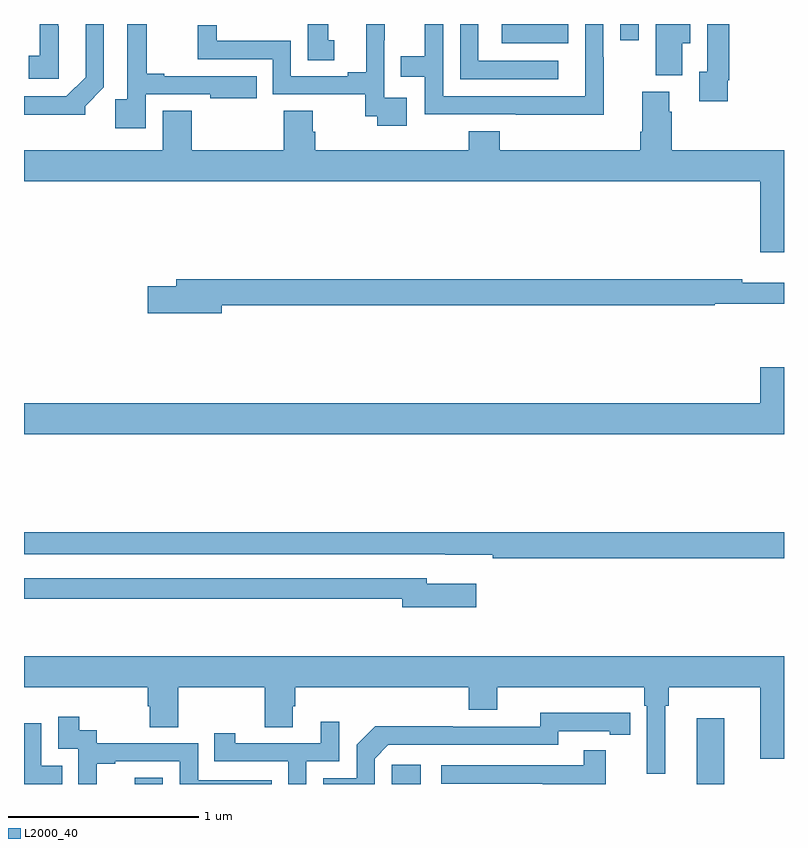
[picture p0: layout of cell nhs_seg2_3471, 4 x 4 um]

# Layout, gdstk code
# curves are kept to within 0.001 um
import gdstk
lib = gdstk.Library(unit=1e-6, precision=1e-09)
def R(c, l, rs):  # rectangles x0, y0, x1, y1
    for r in rs: c.add(gdstk.rectangle(r[:2], r[2:], *l))
def P(c, l, *ps):  # polygons
    for p in ps: c.add(gdstk.Polygon(p, *l))
L2000_40 = (2000, 40)

nhs_seg2_3471 = lib.new_cell('nhs_seg2_3471')
R(nhs_seg2_3471, L2000_40, [(293.583,641.8,293.73,641.833), (294.936,641.8,295.087,641.902), (296.54,641.8,296.686,642.145), (295.515,645.698,295.864,645.8), (296.139,645.714,296.235,645.8)])
P(nhs_seg2_3471, L2000_40, [(296.051,645.626),(296.049,645.626),(296.049,645.8),(295.953,645.8),(295.953,645.42),(295.206,645.42),(295.206,645.8),(295.109,645.8),(295.109,645.631),(294.982,645.631),(294.982,645.522),(295.11,645.522),(295.11,645.324),(295.588,645.324),(295.588,645.323),(296.051,645.323)],
  [(295.015,645.411),(294.897,645.411),(294.897,645.715),(294.899,645.715),(294.899,645.8),(294.8,645.8),(294.8,645.545),(294.704,645.545),(294.704,645.525),(294.405,645.525),(294.405,645.711),(294.015,645.711),(294.015,645.793),(293.914,645.793),(293.914,645.615),(294.309,645.615),(294.309,645.429),(294.796,645.429),(294.796,645.315),(294.859,645.315),(294.859,645.264),(295.015,645.264)],
  [(296.704,645.505),(296.711,645.505),(296.711,645.8),(296.595,645.8),(296.595,645.549),(296.555,645.549),(296.555,645.393),(296.704,645.393)],
  [(294.634,645.714),(294.601,645.714),(294.601,645.8),(294.494,645.8),(294.494,645.61),(294.634,645.61)],
  [(293.64,645.429),(293.981,645.429),(293.981,645.41),(294.224,645.41),(294.224,645.525),(293.737,645.525),(293.737,645.538),(293.645,645.538),(293.645,645.8),(293.544,645.8),(293.544,645.403),(293.479,645.403),(293.479,645.252),(293.64,645.252)],
  [(296.464,645.698),(296.506,645.698),(296.506,645.8),(296.324,645.8),(296.324,645.529),(296.464,645.529)],
  [(293.182,645.788),(293.181,645.788),(293.181,645.8),(293.083,645.8),(293.083,645.633),(293.025,645.633),(293.025,645.513),(293.182,645.513)],
  [(293.322,645.367),(293.421,645.466),(293.421,645.8),(293.324,645.8),(293.324,645.521),(293.223,645.42),(293,645.42),(293,645.323),(293.322,645.323)],
  [(295.813,645.606),(295.392,645.606),(295.392,645.8),(295.296,645.8),(295.296,645.51),(295.813,645.51)],
  [(294.52,645.234),(294.52,645.344),(294.368,645.344),(294.368,645.136),(293.882,645.136),(293.882,645.344),(293.729,645.344),(293.729,645.136),(293,645.136),(293,644.972),(296.876,644.972),(296.876,644.598),(297,644.598),(297,645.136),(296.408,645.136),(296.408,645.338),(296.395,645.338),(296.395,645.444),(296.255,645.444),(296.255,645.232),(296.243,645.232),(296.243,645.136),(295.505,645.136),(295.505,645.235),(295.34,645.235),(295.34,645.136),(294.533,645.136),(294.533,645.234)],
  [(294.04,644.32),(296.636,644.32),(296.636,644.328),(297,644.328),(297,644.437),(296.78,644.437),(296.78,644.456),(293.801,644.456),(293.801,644.42),(293.652,644.42),(293.652,644.278),(294.04,644.278)],
  [(297,643.993),(296.876,643.993),(296.876,643.804),(293,643.804),(293,643.64),(297,643.64)],
  [(297,643.124),(293,643.124),(293,643.008),(295.216,643.008),(295.216,643.007),(295.468,643.007),(295.468,642.988),(297,642.988)],
  [(295.381,642.853),(295.12,642.853),(295.12,642.882),(293,642.882),(293,642.774),(294.992,642.774),(294.992,642.731),(295.381,642.731)],
  [(296.374,642.212),(296.393,642.212),(296.393,642.308),(296.876,642.308),(296.876,641.934),(297,641.934),(297,642.472),(293,642.472),(293,642.308),(293.651,642.308),(293.651,642.21),(293.663,642.21),(293.663,642.1),(293.811,642.1),(293.811,642.308),(294.268,642.308),(294.268,642.1),(294.415,642.1),(294.415,642.21),(294.428,642.21),(294.428,642.308),(295.34,642.308),(295.34,642.191),(295.492,642.191),(295.492,642.308),(296.264,642.308),(296.264,642.212),(296.277,642.212),(296.277,641.853),(296.374,641.853)],
  [(294.846,641.934),(294.918,642.006),(295.812,642.006),(295.812,642.078),(296.084,642.078),(296.084,642.058),(296.192,642.058),(296.192,642.174),(295.716,642.175),(295.716,642.102),(295.256,642.102),(295.256,642.104),(294.848,642.104),(294.75,642.006),(294.75,641.829),(294.576,641.829),(294.576,641.8),(294.846,641.8)],
  [(293.384,641.907),(293.479,641.907),(293.479,641.919),(293.82,641.919),(293.82,641.8),(294.305,641.8),(294.305,641.82),(293.916,641.82),(293.916,642.015),(293.382,642.015),(293.382,642.084),(293.29,642.084),(293.29,642.154),(293.181,642.154),(293.181,641.985),(293.286,641.985),(293.286,641.8),(293.384,641.8)],
  [(294.486,641.919),(294.66,641.919),(294.66,642.127),(294.563,642.127),(294.563,642.015),(294.112,642.015),(294.112,642.067),(294.001,642.067),(294.001,641.919),(294.39,641.919),(294.39,641.8),(294.486,641.8)],
  [(293.201,641.895),(293.091,641.895),(293.091,642.12),(293,642.12),(293,641.8),(293.201,641.8)],
  [(296.063,641.977),(295.945,641.977),(295.945,641.898),(295.197,641.898),(295.197,641.802),(295.729,641.802),(295.729,641.8),(296.063,641.8)])

lib.write_gds('nhs_seg2_3471.gds')
